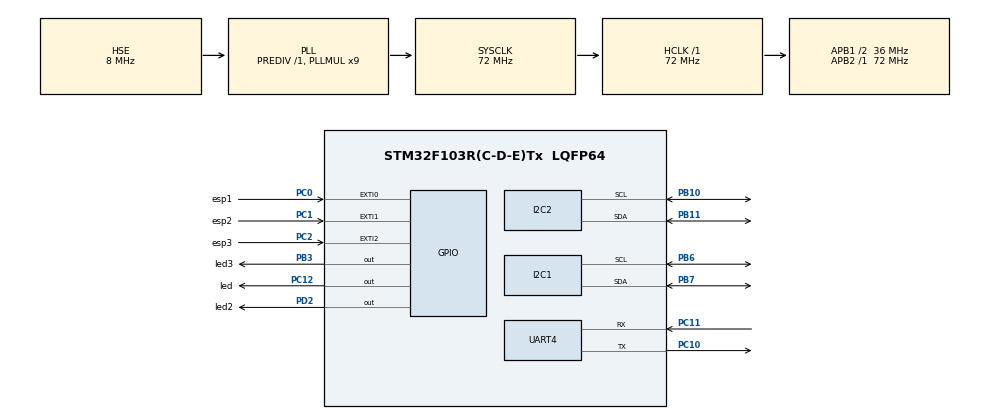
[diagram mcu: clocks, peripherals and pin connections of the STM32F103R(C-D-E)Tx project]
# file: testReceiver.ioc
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Mcu.Family=STM32F1
Mcu.Name=STM32F103R(C-D-E)Tx
Mcu.Package=LQFP64
NVIC.EXTI0_IRQn=true\:0\:0\:false\:false\:true\:true
NVIC.EXTI1_IRQn=true\:0\:0\:false\:false\:true\:true
NVIC.EXTI2_IRQn=true\:0\:0\:false\:false\:true\:true
NVIC.PriorityGroup=NVIC_PRIORITYGROUP_4
NVIC.UART4_IRQn=true\:0\:0\:false\:false\:true\:true
PA13.Mode=Serial_Wire
PA13.Signal=SYS_JTMS-SWDIO
PA14.Mode=Serial_Wire
PA14.Signal=SYS_JTCK-SWCLK
PB10.Mode=I2C
PB10.Signal=I2C2_SCL
PB11.Mode=I2C
PB11.Signal=I2C2_SDA
PB3.GPIO_Label=led3
PB3.Signal=GPIO_Output
PB6.Mode=I2C
PB6.Signal=I2C1_SCL
PB7.Mode=I2C
PB7.Signal=I2C1_SDA
PC0.GPIO_Label=esp1
PC0.GPIO_ModeDefaultEXTI=GPIO_MODE_IT_RISING_FALLING
PC0.Signal=GPXTI0
PC1.GPIO_Label=esp2
PC1.GPIO_ModeDefaultEXTI=GPIO_MODE_IT_RISING_FALLING
PC1.Signal=GPXTI1
PC10.Mode=Asynchronous
PC10.Signal=UART4_TX
PC11.Mode=Asynchronous
PC11.Signal=UART4_RX
PC12.GPIO_Label=led
PC12.Signal=GPIO_Output
PC2.GPIO_Label=esp3
PC2.GPIO_ModeDefaultEXTI=GPIO_MODE_IT_RISING_FALLING
PC2.Signal=GPXTI2
PD0-OSC_IN.Mode=HSE-External-Oscillator
PD0-OSC_IN.Signal=RCC_OSC_IN
PD1-OSC_OUT.Mode=HSE-External-Oscillator
PD1-OSC_OUT.Signal=RCC_OSC_OUT
PD2.GPIO_Label=led2
PD2.Signal=GPIO_Output
ProjectManager.HeapSize=0x200
ProjectManager.StackSize=0x400
ProjectManager.TargetToolchain=MDK-ARM V5
RCC.AHBFreq_Value=72000000
RCC.APB1CLKDivider=RCC_HCLK_DIV2
RCC.APB1Freq_Value=36000000
RCC.APB1TimFreq_Value=72000000
RCC.APB2Freq_Value=72000000
RCC.APB2TimFreq_Value=72000000
RCC.HCLKFreq_Value=72000000
RCC.PLLMUL=RCC_PLL_MUL9
RCC.PLLSourceVirtual=RCC_PLLSOURCE_HSE
RCC.SYSCLKFreq_VALUE=72000000
RCC.SYSCLKSource=RCC_SYSCLKSOURCE_PLLCLK
RCC.USBFreq_Value=72000000
UART4.VirtualMode=Asynchronous
board=testReceiver

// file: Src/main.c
/**
  ******************************************************************************
  * File Name          : main.c
  * Description        : Main program body
  ******************************************************************************
  ** This notice applies to any and all portions of this file
  * that are not between comment pairs USER CODE BEGIN and
  * USER CODE END. Other portions of this file, whether
  * inserted by the user or by software development tools
  * are owned by their respective copyright owners.
  *
  * COPYRIGHT(c) 2020 STMicroelectronics
  *
  * Redistribution and use in source and binary forms, with or without modification,
  * are permitted provided that the following conditions are met:
  *   1. Redistributions of source code must retain the above copyright notice,
  *      this list of conditions and the following disclaimer.
  *   2. Redistributions in binary form must reproduce the above copyright notice,
  *      this list of conditions and the following disclaimer in the documentation
  *      and/or other materials provided with the distribution.
  *   3. Neither the name of STMicroelectronics nor the names of its contributors
  *      may be used to endorse or promote products derived from this software
  *      without specific prior written permission.
  *
  * THIS SOFTWARE IS PROVIDED BY THE COPYRIGHT HOLDERS AND CONTRIBUTORS "AS IS"
  * AND ANY EXPRESS OR IMPLIED WARRANTIES, INCLUDING, BUT NOT LIMITED TO, THE
  * IMPLIED WARRANTIES OF MERCHANTABILITY AND FITNESS FOR A PARTICULAR PURPOSE ARE
  * DISCLAIMED. IN NO EVENT SHALL THE COPYRIGHT HOLDER OR CONTRIBUTORS BE LIABLE
  * FOR ANY DIRECT, INDIRECT, INCIDENTAL, SPECIAL, EXEMPLARY, OR CONSEQUENTIAL
  * DAMAGES (INCLUDING, BUT NOT LIMITED TO, PROCUREMENT OF SUBSTITUTE GOODS OR
  * SERVICES; LOSS OF USE, DATA, OR PROFITS; OR BUSINESS INTERRUPTION) HOWEVER
  * CAUSED AND ON ANY THEORY OF LIABILITY, WHETHER IN CONTRACT, STRICT LIABILITY,
  * OR TORT (INCLUDING NEGLIGENCE OR OTHERWISE) ARISING IN ANY WAY OUT OF THE USE
  * OF THIS SOFTWARE, EVEN IF ADVISED OF THE POSSIBILITY OF SUCH DAMAGE.
  *
  ******************************************************************************
  */

#include "main.h"
#include "stm32f1xx_hal.h"

/* USER CODE BEGIN Includes */
#include "i2c-lcd.h"
#include "stdio.h"
#include <stdlib.h>
#include <string.h>
/* USER CODE END Includes */

I2C_HandleTypeDef hi2c1;
I2C_HandleTypeDef hi2c2;

UART_HandleTypeDef huart4;

/* USER CODE BEGIN PV */
/* Private variables ---------------------------------------------------------*/
volatile char receiver[100],result[10],lcd[5];
char resultcpy[10];
volatile uint16_t speed = 0,KD=0,KI=0,KP=0;
volatile uint8_t a=0;
/* USER CODE END PV */

void SystemClock_Config(void);
static void MX_GPIO_Init(void);
static void MX_I2C2_Init(void);
static void MX_UART4_Init(void);
static void MX_I2C1_Init(void);

/* USER CODE BEGIN PFP */
/* Private function prototypes -----------------------------------------------*/

/* USER CODE END PFP */

/* USER CODE BEGIN 0 */
void timSpeed(void){
		if(receiver[49] !=0){
			for(int i=0;i<50;i++){
				receiver[i]=0;
			}
		}
		if(receiver[1]!=0){
			for(int i=0;i<=50;i++){
				if (receiver[i] == ':'){

						result[0]= receiver[i+4];
						resultcpy[0]= receiver[i+4];
						result[1]= receiver[i+5];
						resultcpy[1]= receiver[i+5];
						result[2]= receiver[i+6];
						resultcpy[2]= receiver[i+6];
						result[3]= receiver[i+7];
						resultcpy[3]= receiver[i+7];

						if(receiver[i-1] == ' '){
							a=1;
						}
						else if(receiver[i-1] == 'D'){
							a=2;
						}
						else if(receiver[i-1] == 'I'){
							a=3;
						}
						else if(receiver[i-1] == 'P'){
							a=4;
						}
						else a=0;
				}
			}
		}
			if(a==1){
			if(atoi(resultcpy)!=0){
//				lcd_clear_display();
				speed = atoi(resultcpy);
				sprintf(lcd, "speed: %d       ",speed);
				lcd_goto_XY(2,0);
				lcd_send_string(lcd);
			}
		}
		else if(a==2){
			if(atoi(resultcpy)!=0){
//				lcd_clear_display();
				KD = atoi(resultcpy);
				sprintf(lcd, "KD: %d           ",KD);
				lcd_goto_XY(2,0);
				lcd_send_string(lcd);
			}
		}
		else if(a==3){
			if(atoi(resultcpy)!=0){
//				lcd_clear_display();
				KI = atoi(resultcpy);
				sprintf(lcd, "KI: %d           ",KI);
				lcd_goto_XY(2,0);
				lcd_send_string(lcd);
			}
		}
		else if(a==4){
			if(atoi(resultcpy)!=0){
//				lcd_clear_display();
				KP = atoi(resultcpy);
				sprintf(lcd, "KP: %d            ",KP);
				lcd_goto_XY(2,0);
				lcd_send_string(lcd);
			}
		}
		if(speed >0|KD>0|KP>0|KI>0){
			for (int i=0;i<10;i++){
				resultcpy[i]=0;
				result[i]=0;
				//receiver[i]=0;
			}
		}
	HAL_UART_Receive_IT(&huart4,(uint8_t*)receiver,50);
}
void HAL_GPIO_EXTI_Callback(uint16_t GPIO_Pin)
{
	if (GPIO_Pin == esp1_Pin){
		lcd_goto_XY(1,0);
		lcd_send_string("11111");
		HAL_GPIO_WritePin(led_GPIO_Port,led_Pin,1);
	}
		if (GPIO_Pin == esp2_Pin){
		lcd_goto_XY(1,0);
		lcd_send_string("22222");
		HAL_GPIO_WritePin(led2_GPIO_Port,led2_Pin,1);
	}
			if (GPIO_Pin == esp3_Pin){
		lcd_goto_XY(1,0);
		lcd_send_string("33333");
		HAL_GPIO_WritePin(led3_GPIO_Port,led3_Pin,1);
	}
}
//void HAL_UART_RxCpltCallback(UART_HandleTypeDef *huart)
//{
// if(huart->Instance == UART4){
//	HAL_UART_Receive(&huart4,(uint8_t*)receiver,50,100);
//	HAL_UART_Receive_IT(&huart4,(uint8_t*)receiver,1);
//	}
//}
/* USER CODE END 0 */

int main(void)
{

  /* MCU Configuration----------------------------------------------------------*/

  /* Reset of all peripherals, Initializes the Flash interface and the Systick. */
  HAL_Init();

  /* Configure the system clock */
  SystemClock_Config();

  /* Initialize all configured peripherals */
  MX_GPIO_Init();
  MX_I2C2_Init();
  MX_UART4_Init();
  MX_I2C1_Init();

  /* USER CODE BEGIN 2 */
//HAL_UART_Receive_IT(&huart4,(uint8_t*)receiver,1);
//timSpeed();
HAL_UART_Receive_IT(&huart4,(uint8_t*)receiver,50);
lcd_init();
lcd_goto_XY(1,0);
lcd_send_string("hi!");
  /* USER CODE END 2 */

  /* Infinite loop */
  while (1)
  {
timSpeed();
		HAL_GPIO_TogglePin(led_GPIO_Port,led_Pin);
		HAL_Delay(100);
  /* USER CODE BEGIN 3 */

		}

			//HAL_UART_Receive_IT(&huart4,(uint8_t*)receiver,sizeof(receiver));
//		HAL_GPIO_WritePin(led_GPIO_Port,led_Pin,1);
//		HAL_Delay(1000);
//		HAL_GPIO_WritePin(led_GPIO_Port,led_Pin,0);
//		//HAL_Delay(1000);
//				HAL_GPIO_WritePin(led2_GPIO_Port,led2_Pin,1);
//		HAL_Delay(1000);
//		HAL_GPIO_WritePin(led2_GPIO_Port,led2_Pin,0);
//		//HAL_Delay(1000);
//				HAL_GPIO_WritePin(led3_GPIO_Port,led3_Pin,1);
//		HAL_Delay(1000);
//HAL_GPIO_WritePin(led3_GPIO_Port,led3_Pin,0);
//HAL_Delay(1000);
//HAL_UART_Receive_IT(&huart4,receiver,sizeof(receiver));
//				HAL_Delay(15);
	}
  /* USER CODE END 3 */

/** System Clock Configuration
*/
void SystemClock_Config(void)
{

  RCC_OscInitTypeDef RCC_OscInitStruct;
  RCC_ClkInitTypeDef RCC_ClkInitStruct;

    /**Initializes the CPU, AHB and APB busses clocks
    */
  RCC_OscInitStruct.OscillatorType = RCC_OSCILLATORTYPE_HSE;
  RCC_OscInitStruct.HSEState = RCC_HSE_ON;
  RCC_OscInitStruct.HSEPredivValue = RCC_HSE_PREDIV_DIV1;
  RCC_OscInitStruct.HSIState = RCC_HSI_ON;
  RCC_OscInitStruct.PLL.PLLState = RCC_PLL_ON;
  RCC_OscInitStruct.PLL.PLLSource = RCC_PLLSOURCE_HSE;
  RCC_OscInitStruct.PLL.PLLMUL = RCC_PLL_MUL9;
  if (HAL_RCC_OscConfig(&RCC_OscInitStruct) != HAL_OK)
  {
    _Error_Handler(__FILE__, __LINE__);
  }

    /**Initializes the CPU, AHB and APB busses clocks
    */
  RCC_ClkInitStruct.ClockType = RCC_CLOCKTYPE_HCLK|RCC_CLOCKTYPE_SYSCLK
                              |RCC_CLOCKTYPE_PCLK1|RCC_CLOCKTYPE_PCLK2;
  RCC_ClkInitStruct.SYSCLKSource = RCC_SYSCLKSOURCE_PLLCLK;
  RCC_ClkInitStruct.AHBCLKDivider = RCC_SYSCLK_DIV1;
  RCC_ClkInitStruct.APB1CLKDivider = RCC_HCLK_DIV2;
  RCC_ClkInitStruct.APB2CLKDivider = RCC_HCLK_DIV1;

  if (HAL_RCC_ClockConfig(&RCC_ClkInitStruct, FLASH_LATENCY_2) != HAL_OK)
  {
    _Error_Handler(__FILE__, __LINE__);
  }

    /**Configure the Systick interrupt time
    */
  HAL_SYSTICK_Config(HAL_RCC_GetHCLKFreq()/1000);

    /**Configure the Systick
    */
  HAL_SYSTICK_CLKSourceConfig(SYSTICK_CLKSOURCE_HCLK);

  /* SysTick_IRQn interrupt configuration */
  HAL_NVIC_SetPriority(SysTick_IRQn, 0, 0);
}

/* I2C1 init function */
static void MX_I2C1_Init(void)
{

  hi2c1.Instance = I2C1;
  hi2c1.Init.ClockSpeed = 100000;
  hi2c1.Init.DutyCycle = I2C_DUTYCYCLE_2;
  hi2c1.Init.OwnAddress1 = 0;
  hi2c1.Init.AddressingMode = I2C_ADDRESSINGMODE_7BIT;
  hi2c1.Init.DualAddressMode = I2C_DUALADDRESS_DISABLE;
  hi2c1.Init.OwnAddress2 = 0;
  hi2c1.Init.GeneralCallMode = I2C_GENERALCALL_DISABLE;
  hi2c1.Init.NoStretchMode = I2C_NOSTRETCH_DISABLE;
  if (HAL_I2C_Init(&hi2c1) != HAL_OK)
  {
    _Error_Handler(__FILE__, __LINE__);
  }

}

/* I2C2 init function */
static void MX_I2C2_Init(void)
{

  hi2c2.Instance = I2C2;
  hi2c2.Init.ClockSpeed = 100000;
  hi2c2.Init.DutyCycle = I2C_DUTYCYCLE_2;
  hi2c2.Init.OwnAddress1 = 0;
  hi2c2.Init.AddressingMode = I2C_ADDRESSINGMODE_7BIT;
  hi2c2.Init.DualAddressMode = I2C_DUALADDRESS_DISABLE;
  hi2c2.Init.OwnAddress2 = 0;
  hi2c2.Init.GeneralCallMode = I2C_GENERALCALL_DISABLE;
  hi2c2.Init.NoStretchMode = I2C_NOSTRETCH_DISABLE;
  if (HAL_I2C_Init(&hi2c2) != HAL_OK)
  {
    _Error_Handler(__FILE__, __LINE__);
  }

}

/* UART4 init function */
static void MX_UART4_Init(void)
{

  huart4.Instance = UART4;
  huart4.Init.BaudRate = 115200;
  huart4.Init.WordLength = UART_WORDLENGTH_8B;
  huart4.Init.StopBits = UART_STOPBITS_1;
  huart4.Init.Parity = UART_PARITY_NONE;
  huart4.Init.Mode = UART_MODE_TX_RX;
  huart4.Init.HwFlowCtl = UART_HWCONTROL_NONE;
  huart4.Init.OverSampling = UART_OVERSAMPLING_16;
  if (HAL_UART_Init(&huart4) != HAL_OK)
  {
    _Error_Handler(__FILE__, __LINE__);
  }

}

/** Configure pins as
        * Analog
        * Input
        * Output
        * EVENT_OUT
        * EXTI
*/
static void MX_GPIO_Init(void)
{

  GPIO_InitTypeDef GPIO_InitStruct;

  /* GPIO Ports Clock Enable */
  __HAL_RCC_GPIOD_CLK_ENABLE();
  __HAL_RCC_GPIOC_CLK_ENABLE();
  __HAL_RCC_GPIOB_CLK_ENABLE();
  __HAL_RCC_GPIOA_CLK_ENABLE();

  /*Configure GPIO pin Output Level */
  HAL_GPIO_WritePin(led_GPIO_Port, led_Pin, GPIO_PIN_RESET);

  /*Configure GPIO pin Output Level */
  HAL_GPIO_WritePin(led2_GPIO_Port, led2_Pin, GPIO_PIN_RESET);

  /*Configure GPIO pin Output Level */
  HAL_GPIO_WritePin(led3_GPIO_Port, led3_Pin, GPIO_PIN_RESET);

  /*Configure GPIO pins : esp1_Pin esp2_Pin esp3_Pin */
  GPIO_InitStruct.Pin = esp1_Pin|esp2_Pin|esp3_Pin;
  GPIO_InitStruct.Mode = GPIO_MODE_IT_RISING_FALLING;
  GPIO_InitStruct.Pull = GPIO_NOPULL;
  HAL_GPIO_Init(GPIOC, &GPIO_InitStruct);

  /*Configure GPIO pin : led_Pin */
  GPIO_InitStruct.Pin = led_Pin;
  GPIO_InitStruct.Mode = GPIO_MODE_OUTPUT_PP;
  GPIO_InitStruct.Speed = GPIO_SPEED_FREQ_LOW;
  HAL_GPIO_Init(led_GPIO_Port, &GPIO_InitStruct);

  /*Configure GPIO pin : led2_Pin */
  GPIO_InitStruct.Pin = led2_Pin;
  GPIO_InitStruct.Mode = GPIO_MODE_OUTPUT_PP;
  GPIO_InitStruct.Speed = GPIO_SPEED_FREQ_LOW;
  HAL_GPIO_Init(led2_GPIO_Port, &GPIO_InitStruct);

  /*Configure GPIO pin : led3_Pin */
  GPIO_InitStruct.Pin = led3_Pin;
  GPIO_InitStruct.Mode = GPIO_MODE_OUTPUT_PP;
  GPIO_InitStruct.Speed = GPIO_SPEED_FREQ_LOW;
  HAL_GPIO_Init(led3_GPIO_Port, &GPIO_InitStruct);

  /* EXTI interrupt init*/
  HAL_NVIC_SetPriority(EXTI0_IRQn, 0, 0);
  HAL_NVIC_EnableIRQ(EXTI0_IRQn);

  HAL_NVIC_SetPriority(EXTI1_IRQn, 0, 0);
  HAL_NVIC_EnableIRQ(EXTI1_IRQn);

  HAL_NVIC_SetPriority(EXTI2_IRQn, 0, 0);
  HAL_NVIC_EnableIRQ(EXTI2_IRQn);

}

void _Error_Handler(char * file, int line)
{
  while(1)
  {
  }
}

/************************ (C) COPYRIGHT STMicroelectronics *****END OF FILE****/
